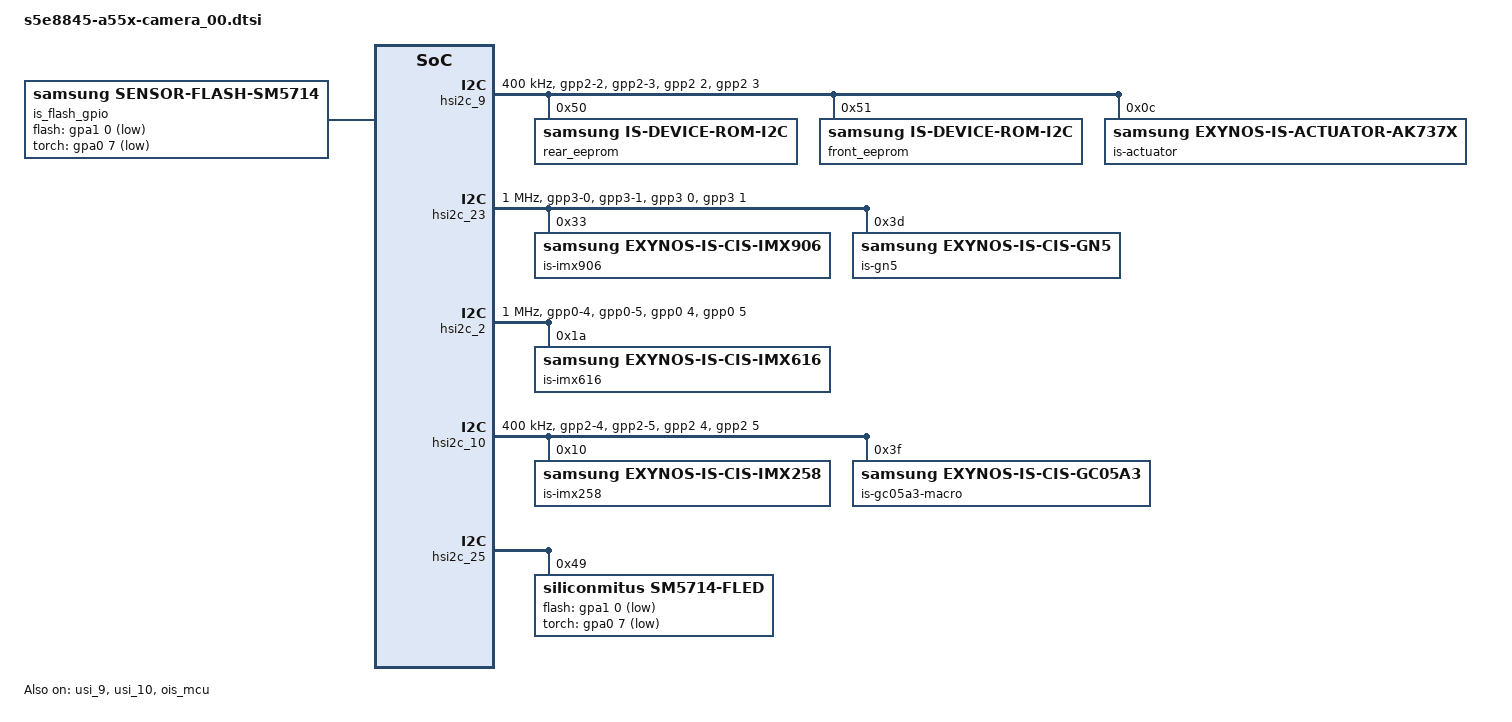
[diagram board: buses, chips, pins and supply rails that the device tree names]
/*
 * Samsung Exynos SoC series Pablo driver
 *
 * Copyright (c) 2023 Samsung Electronics Co., Ltd
 *
 * This program is free software; you can redistribute it and/or modify
 * it under the terms of the GNU General Public License version 2 as
 * published by the Free Software Foundation.
 */

#include <dt-bindings/camera/exynos_is_dt.h>
#include "module_imx906.dtsi" /* Wide CAMERA */
#include "module_gn5.dtsi" /* Wide CAMERA */
#include "module_imx616.dtsi" /* Front CAMERA */
#include "module_imx258.dtsi" /* UW CAMERA */
#include "module_gc05a3.dtsi" /* Macro CAMERA */

/ {
	fragment@camera {
		target-path = "/";
		__overlay__ {
			#address-cells = <2>;
			#size-cells = <1>;
			interrupt-parent = <&gic>;

			/* Wide CAMERA */
			is_sensor_imx906: is_sensor_imx906@33 {
				af {
					product_name = <18>; /* ACTUATOR_NAME_AK737X */
					i2c_ch = <1>; /* SENSOR_CONTROL_I2C1 lock */
				};

				flash {
					product_name = <20>; /* SM5714 */
				};

				power_seq {
					scenario_normal_on {
						20 { pname = "VDDIO_COMMON_1P8"; pin = <PIN_REGULATOR 1 1000>; share = <SRT_ACQUIRE SHARED_PIN0 1>; };
					};
					scenario_normal_off {
						110 { pname = "VDDIO_COMMON_1P8"; pin = <PIN_REGULATOR 0 500>; share = <SRT_RELEASE SHARED_PIN0 0>; };
					};
					scenario_vision_on {
						20 { pname = "VDDIO_COMMON_1P8"; pin = <PIN_REGULATOR 1 1000>; share = <SRT_ACQUIRE SHARED_PIN0 1>; };
					};
					scenario_vision_off {
						110 { pname = "VDDIO_COMMON_1P8"; pin = <PIN_REGULATOR 0 500>; share = <SRT_RELEASE SHARED_PIN0 0>; };
					};
					scenario_ois_factory_on {
						20 { pname = "VDDIO_COMMON_1P8"; pin = <PIN_REGULATOR 1 1000>; share = <SRT_ACQUIRE SHARED_PIN0 1>; };
					};
					scenario_ois_factory_off {
						110 { pname = "VDDIO_COMMON_1P8"; pin = <PIN_REGULATOR 0 1000>; share = <SRT_RELEASE SHARED_PIN0 0>; };
					};
					scenario_read_rom_on {
						10 { pname = "VDDIO_COMMON_1P8"; pin = <PIN_REGULATOR 1 1000>; share = <SRT_ACQUIRE SHARED_PIN0 1>;};
					};
					scenario_read_rom_off {
						20 { pname = "VDDIO_COMMON_1P8"; pin = <PIN_REGULATOR 0 1000>; share = <SRT_RELEASE SHARED_PIN0 0>;};
					};
				};
			};

			is_sensor_gn5: is_sensor_gn5@7A {
				af {
					product_name = <18>; /* ACTUATOR_NAME_AK737X */
					i2c_ch = <1>; /* SENSOR_CONTROL_I2C1 lock */
				};
				flash {
					product_name = <20>; /* SM5714 */
				};

				power_seq {
					scenario_normal_on {
						20 { pname = "VDDIO_COMMON_1P8"; pin = <PIN_REGULATOR 1 1000>; share = <SRT_ACQUIRE SHARED_PIN0 1>; };
					};
					scenario_normal_off {
						110 { pname = "VDDIO_COMMON_1P8"; pin = <PIN_REGULATOR 0 1000>; share = <SRT_RELEASE SHARED_PIN0 0>; };
					};
					scenario_vision_on {
						20 { pname = "VDDIO_COMMON_1P8"; pin = <PIN_REGULATOR 1 1000>; share = <SRT_ACQUIRE SHARED_PIN0 1>; };
					};
					scenario_vision_off {
						110 { pname = "VDDIO_COMMON_1P8"; pin = <PIN_REGULATOR 0 1000>; share = <SRT_RELEASE SHARED_PIN0 0>; };
					};
					scenario_ois_factory_on {
						20 { pname = "VDDIO_COMMON_1P8"; pin = <PIN_REGULATOR 1 1000>; share = <SRT_ACQUIRE SHARED_PIN0 1>; };
					};
					scenario_ois_factory_off {
						110 { pname = "VDDIO_COMMON_1P8"; pin = <PIN_REGULATOR 0 1000>; share = <SRT_RELEASE SHARED_PIN0 0>; };
					};
					scenario_read_rom_on {
						10 { pname = "VDDIO_COMMON_1P8"; pin = <PIN_REGULATOR 1 1000>; share = <SRT_ACQUIRE SHARED_PIN0 1>;};
					};
					scenario_read_rom_off {
						20 { pname = "VDDIO_COMMON_1P8"; pin = <PIN_REGULATOR 0 1000>; share = <SRT_RELEASE SHARED_PIN0 0>;};
					};
				};
			};

			/* FRONT CAMERA */
			is_sensor_imx616: is_sensor_imx616@1A {
				power_seq {
					scenario_normal_on {
						20 { pname = "VDDIO_COMMON_1P8"; pin = <PIN_REGULATOR 1 1000>; share = <SRT_ACQUIRE SHARED_PIN0 1>; };
						30 { pname = "VDDA_COMMON_2P8_V"; pin = <PIN_REGULATOR 1 0 2900000>; share = <SRT_ACQUIRE SHARED_PIN1 1>; };
						80 { pname = "MCLK"; pin = <PIN_MCLK 1 1500>; share = <SRT_ACQUIRE SHARED_PIN2 1>; };
					};
					scenario_normal_off {
						30 { pname = "MCLK"; pin = <PIN_MCLK 0 0>; share = <SRT_RELEASE SHARED_PIN2 0>; };
						80 { pname = "VDDA_COMMON_2P8_V"; pin = <PIN_REGULATOR 0 2000>; share = <SRT_RELEASE SHARED_PIN1 0>; };
						90 { pname = "VDDIO_COMMON_1P8"; pin = <PIN_REGULATOR 0 1000>; share = <SRT_RELEASE SHARED_PIN0 0>; };
					};
					scenario_vision_on {
						20 { pname = "VDDIO_COMMON_1P8"; pin = <PIN_REGULATOR 1 1000>; share = <SRT_ACQUIRE SHARED_PIN0 1>; };
						30 { pname = "VDDA_COMMON_2P8_V"; pin = <PIN_REGULATOR 1 0 2900000>; share = <SRT_ACQUIRE SHARED_PIN1 1>; };
						80 { pname = "MCLK"; pin = <PIN_MCLK 1 1500>; share = <SRT_ACQUIRE SHARED_PIN2 1>; };
					};
					scenario_vision_off {
						30 { pname = "MCLK"; pin = <PIN_MCLK 0 0>; share = <SRT_RELEASE SHARED_PIN2 0>; };
						80 { pname = "VDDA_COMMON_2P8_V"; pin = <PIN_REGULATOR 0 2000>; share = <SRT_RELEASE SHARED_PIN1 0>; };
						90 { pname = "VDDIO_COMMON_1P8"; pin = <PIN_REGULATOR 0 1000>; share = <SRT_RELEASE SHARED_PIN0 0>; };
					};
					scenario_read_rom_on {
						10 { pname = "VDDIO_COMMON_1P8"; pin = <PIN_REGULATOR 1 1000>; share = <SRT_ACQUIRE SHARED_PIN0 1>;};
					};
					scenario_read_rom_off {
						20 { pname = "VDDIO_COMMON_1P8"; pin = <PIN_REGULATOR 0 1000>; share = <SRT_RELEASE SHARED_PIN0 0>;};
					};
				};
			};

			/* UW CAMERA */
			is_sensor_imx258: is_sensor_imx258@10 {
				power_seq {
					scenario_normal_on {
						20 { pname = "VDDIO_COMMON_1P8"; pin = <PIN_REGULATOR 1 1000>; share = <SRT_ACQUIRE SHARED_PIN0 1>;};
						40 { pname = "VDDA_COMMON_2P8_V"; pin = <PIN_REGULATOR 1 0 2700000>; share = <SRT_ACQUIRE SHARED_PIN1 1>; };
					};
					scenario_normal_off {
						80 { pname = "VDDA_COMMON_2P8_V"; pin = <PIN_REGULATOR 0 0>; share = <SRT_RELEASE SHARED_PIN1 0>; };
						100 { pname = "VDDIO_COMMON_1P8"; pin = <PIN_REGULATOR 0 1000>; share = <SRT_RELEASE SHARED_PIN0 0>; };
					};
					scenario_vision_on {
						20 { pname = "VDDIO_COMMON_1P8"; pin = <PIN_REGULATOR 1 1000>; share = <SRT_ACQUIRE SHARED_PIN0 1>;};
						40 { pname = "VDDA_COMMON_2P8_V"; pin = <PIN_REGULATOR 1 0 2700000>; share = <SRT_ACQUIRE SHARED_PIN1 1>; };
					};
					scenario_vision_off {
						80 { pname = "VDDA_COMMON_2P8_V"; pin = <PIN_REGULATOR 0 0>; share = <SRT_RELEASE SHARED_PIN1 0>; };
						100 { pname = "VDDIO_COMMON_1P8"; pin = <PIN_REGULATOR 0 1000>; share = <SRT_RELEASE SHARED_PIN0 0>; };
					};
					scenario_read_rom_on {
						10 { pname = "VDDIO_COMMON_1P8"; pin = <PIN_REGULATOR 1 1000>; share = <SRT_ACQUIRE SHARED_PIN0 1>;};
					};
					scenario_read_rom_off {
						20 { pname = "VDDIO_COMMON_1P8"; pin = <PIN_REGULATOR 0 1000>; share = <SRT_RELEASE SHARED_PIN0 0>;};
					};
				};
			};

			/* MACRO CAMERA */
			is_sensor_gc05a3_macro: is_sensor_gc05a3_macro@3E {
				flash {
					product_name = <20>; /* SM5714 */
				};

				power_seq {
					scenario_normal_on {
						20 { pname = "VDDIO_COMMON_1P8"; pin = <PIN_REGULATOR 1 1000>; share = <SRT_ACQUIRE SHARED_PIN0 1>; };
						40 { pname = "VDDA_COMMON_2P8_V"; pin = <PIN_REGULATOR 1 500 2804000>; share = <SRT_ACQUIRE SHARED_PIN1 1>; };
						80 { pname = "MCLK"; pin = <PIN_MCLK 1 1500>; share = <SRT_ACQUIRE SHARED_PIN2 1>; };
					};
					scenario_normal_off {
						20 { pname = "MCLK"; pin = <PIN_MCLK 0 0>; share = <SRT_RELEASE SHARED_PIN2 0>; };
						70 { pname = "VDDA_COMMON_2P8_V"; pin = <PIN_REGULATOR 0 500>; share = <SRT_RELEASE SHARED_PIN1 0>; };
						90 { pname = "VDDIO_COMMON_1P8"; pin = <PIN_REGULATOR 0 1000>; share = <SRT_RELEASE SHARED_PIN0 0>; };
					};
					scenario_vision_on {
						20 { pname = "VDDIO_COMMON_1P8"; pin = <PIN_REGULATOR 1 1000>; share = <SRT_ACQUIRE SHARED_PIN0 1>;};
						40 { pname = "VDDA_COMMON_2P8_V"; pin = <PIN_REGULATOR 1 500 2804000>; share = <SRT_ACQUIRE SHARED_PIN1 1>; };
						80 { pname = "MCLK"; pin = <PIN_MCLK 1 1500>; share = <SRT_ACQUIRE SHARED_PIN2 1>; };
					};
					scenario_vision_off {
						20 { pname = "MCLK"; pin = <PIN_MCLK 0 0>; share = <SRT_RELEASE SHARED_PIN2 0>; };
						70 { pname = "VDDA_COMMON_2P8_V"; pin = <PIN_REGULATOR 0 500>; share = <SRT_RELEASE SHARED_PIN1 0>; };
						90 { pname = "VDDIO_COMMON_1P8"; pin = <PIN_REGULATOR 0 1000>; share = <SRT_RELEASE SHARED_PIN0 0>; };
					};
					scenario_read_rom_on {
						// 10 { pname = "VDDIO_COMMON_1P8"; pin = <PIN_REGULATOR 1 1000>; share = <SRT_ACQUIRE SHARED_PIN0 1>;};
					};
					scenario_read_rom_off {
						// 20 { pname = "VDDIO_COMMON_1P8"; pin = <PIN_REGULATOR 0 1000>; share = <SRT_RELEASE SHARED_PIN0 0>;};
					};
				};
			};

			/* OIS_MCU */
			ois_mcu: ois_mcu@0x152D0000 {
				compatible = "samsung,sensor-ois-mcu";
				reg = <0x0 0x152D0000 0x18000>, /* OIS MCU (SRAM 96KB) */
					<0x0 0x13920000 0x10000>, /* I2C: USI10_USI */
					<0x0 0x13910000 0x10000>, /* SPI: USI09_USI */
					<0x0 0x12B40000 0x1000>, /* PERI setting (GPIO_PERIC) */
					<0x0 0x152C0000 0x2000>; /* SFR */
				reg-names = "core", "i2c", "spi", "peri", "sfr";
				interrupts = <0 INTREQ__OIS_FROM_CM4 IRQ_TYPE_LEVEL_HIGH>;
				id = <0>;
				status = "okay";
				ois_gyro_direction = <0x00 0x01 0x10>;

				power-domains = <&pd_csis>;
				clocks = <&clock GATE_OIS_MCU_TOP_QCH>, <&clock DOUT_DIV_CLK_PERIC_USI09_USI>;
				clock-names = "user_mux", "ipclk_spi";
			};

			/* REAR CAMERA */
			is_sensor0: is_sensor0@15030000 {
				reg = <0x0 0x15050000 0x1000>, /* MIPI-CSI2 */
					<0x0 0x150F0000 0x10000>, /* PHY: M0S4S4S4S4S4S2 */
					<0x0 0x150B022C 0x10>, /* CSIS_FRO */
					<0x0 0x150B0254 0x10>; /* CSIS 5x3 OTF_OUT MUX */
				scenario = <SENSOR_SCENARIO_NORMAL>;    /* Normal, Vision, OIS etc */
				id = <0>;    /* VIDEO_SS0 */
				csi_ch = <2>; /* CSI2 */
				status = "okay";
				interrupts = <0 INTREQ__CSIS2 IRQ_TYPE_LEVEL_HIGH>; /* MIPI-CSI2 */
				interrupt-names = "csi";
				use_cphy = <1>;

				phys = <&mipi_phy_csis2_m0s4s4s4s4_s22 0>;
				phy_setfile = <&dcphy_setfile_cphy>;
			};

			/* FRONT CAMERA */
			is_sensor1: is_sensor1@15040000 {
				reg = <0x0 0x15030000 0x1000>, /* MIPI-CSI0 */
					<0x0 0x150F0000 0x10000>, /* PHY: M0S4S4S4_S22 */
					<0x0 0x150B022C 0x10>, /* CSIS_FRO */
					<0x0 0x150B0254 0x10>; /* CSIS 5x3 OTF_OUT MUX */
				scenario = <SENSOR_SCENARIO_NORMAL>;    /* Normal, Vision, OIS etc */
				id = <1>;
				csi_ch = <0>; /* CSI0 */
				status = "okay";
				interrupts = <0 INTREQ__CSIS0 IRQ_TYPE_LEVEL_HIGH>; /* MIPI-CSI0 */
				interrupt-names = "csi";
				use_cphy = <0>;

				phys = <&mipi_phy_csis0_m0s4s4s4s4_s22 0>;
				phy_setfile = <&dphy_setfile>;
			};

			/* UW CAMERA */
			is_sensor2: is_sensor2@15050000 {
				reg = <0x0 0x15040000 0x1000>, /* MIPI-CSI1 */
					<0x0 0x150F0000 0x10000>, /* PHY: M0S4S4S4_S22 */
					<0x0 0x150B022C 0x10>, /* CSIS_FRO */
					<0x0 0x150B0254 0x10>; /* CSIS 5x3 OTF_OUT MUX */
				scenario = <SENSOR_SCENARIO_NORMAL>;    /* Normal, Vision, OIS etc */
				id = <2>;
				csi_ch = <1>;
				status = "okay";
				use_cphy = <0>;

				interrupts = <0 INTREQ__CSIS1 IRQ_TYPE_LEVEL_HIGH>; /* MIPI-CSI1 */
				phys = <&mipi_phy_csis1_m0s4s4s4s4_s22 0>;
				phy_setfile = <&dphy_setfile>;
			};

			is_sensor3: is_sensor3@15060000 {
				status = "disabled";
			};

			/* MACRO CAMERA */
			is_sensor4: is_sensor4@15070000 {
				reg = <0x0 0x15070000 0x1000>, /* MIPI-CSI4 */
					<0x0 0x150F0000 0x10000>, /* PHY: M0S4S4S4S4S4S2 */
					<0x0 0x150B022C 0x10>, /* CSIS_FRO */
					<0x0 0x150B0254 0x10>; /* CSIS 5x3 OTF_OUT MUX */
				scenario = <SENSOR_SCENARIO_NORMAL>;    /* Normal, Vision, OIS etc */
				id = <3>;
				csi_ch = <4>;
				status = "okay";
				use_cphy = <0>;

				interrupts = <0 INTREQ__CSIS4 IRQ_TYPE_LEVEL_HIGH>; /* MIPI-CSI4 */
				phys = <&mipi_phy_csis4_m0s4s4s4s4_s22 0>;
				phy_setfile = <&dphy_setfile_2lane>;
			};

			is_flash_gpio: is-flash-gpio@0 {
				compatible = "samsung,sensor-flash-sm5714";
				sensor-module = <&is_sensor_imx906>,<&is_sensor_gc05a3_macro>;
				id = <0 3>;
				led_ch = <1>;
				status = "okay";
				flash-gpio = <&gpa1 0 0x1>;
				torch-gpio = <&gpa0 7 0x1>;
			};

			exynos_isp_cpu: icpu@15910000 {
				firmware{
					heap{
						heap-name = "camera"; /* use camera heap */
					};
				};
			};
		}; /* end of __overlay__ */
	}; /* end of fragment */
}; /* end of root */

/***** reference symbol node *****/

/* Ois setting */
&usi_9 {
	usi_v2_mode = "spi";
	status = "okay";
};

&usi_10 {
	usi_v2_mode = "i2c";
	status = "okay";
};

/*
 * [Pin control reference]
 * samsung,pin-function = <0: Input, 1: Output, 2~3: Func>;
 * samsung,pin-pud = <0: NP, 1: PD, 3: PU(2KOhm), 5: PU(0.8KOhm)>;
 * samsung,pin-drv = <0: x1, 1: x2, 2: x3, 3: x4>;
 * samsung,pin-con-pdn = <0: Output0, 1: Output1, 2: Input, 3:Prev>;
 * samsung,pin-pud-pdn = <0: NP, 1: PD, 3: PU>;
 */

/* GPIO_PERI */
&pinctrl_5 {
	/* REAR Wide : i2c0 */
	hsi2c23_bus: hsi2c23-bus {
		samsung,pins = "gpp3-0", "gpp3-1";
		samsung,pin-function = <2>;
		samsung,pin-pud = <5>;
		samsung,pin-drv = <0>;
	};

	hsi2c23_bus_in: hsi2c23-bus-in {
		samsung,pins = "gpp3-0", "gpp3-1";
		samsung,pin-function = <0>;
		samsung,pin-pud = <5>;
		samsung,pin-drv = <0>;
		samsung,pin-con-pdn = <2>;
		samsung,pin-pud-pdn = <5>;
	};
};

&pinctrl_3 {
	/* FRONT i2c1 */
	hsi2c2_bus: hsi2c2-bus {
		samsung,pins = "gpp0-4", "gpp0-5";
		samsung,pin-function = <2>;
		samsung,pin-pud = <5>;
		samsung,pin-drv = <0>;
	};

	hsi2c2_bus_in: hsi2c2-bus-in {
		samsung,pins = "gpp0-4", "gpp0-5";
		samsung,pin-function = <0>;
		samsung,pin-pud = <5>;
		samsung,pin-drv = <0>;
		samsung,pin-con-pdn = <2>;
		samsung,pin-pud-pdn = <5>;
	};

	/* AF-EEPROM hsi2c */
	hsi2c9_bus: hsi2c9-bus {
		samsung,pins = "gpp2-2", "gpp2-3";
		samsung,pin-function = <3>;
		samsung,pin-pud = <3>;
		samsung,pin-drv = <0>;
	};

	hsi2c9_bus_in: hsi2c9-bus-in {
		samsung,pins = "gpp2-2", "gpp2-3";
		samsung,pin-function = <0>;
		samsung,pin-pud = <3>;
		samsung,pin-drv = <0>;
		samsung,pin-con-pdn = <2>;
		samsung,pin-pud-pdn = <3>;
	};

	/* UW & Macro */
	hsi2c10_bus: hsi2c10-bus {
		samsung,pins = "gpp2-4", "gpp2-5";
		samsung,pin-function = <2>;
		samsung,pin-pud = <3>;
		samsung,pin-drv = <0>;
	};

	hsi2c10_bus_in: hsi2c10-bus-in {
		samsung,pins = "gpp2-4", "gpp2-5";
		samsung,pin-function = <0>;
		samsung,pin-pud = <0>;
		samsung,pin-drv = <0>;
		samsung,pin-con-pdn = <2>;
		samsung,pin-pud-pdn = <0>;
	};

	/* PERIC_USI01_I2C */
	hsi2c3_bus: hsi2c3-bus {
		samsung,pins = "gpp0-6", "gpp0-7";
		samsung,pin-function = <1>;
		samsung,pin-pud = <1>;
		samsung,pin-drv = <0>;
		samsung,pin-con-pdn = <0>;
		samsung,pin-pud-pdn = <1>;
	};

	/* RCAM2_LDO_EN */
	rcam2_ldo_en: rcam2-ldo-en {
		samsung,pins = "gpg1-0";
		samsung,pin-con-pdn = <0>;
	};
};

&pinctrl_0 {
	/* flash */
	cam_flash_en: cam-flash-en {
		samsung,pins = "gpa1-0";
		samsung,pin-function = <1>;
		samsung,pin-con-pdn= <3>;
	};

	/* torch */
	cam_torch_en: cam-torch-en {
		samsung,pins = "gpa0-7";
		samsung,pin-function = <1>;
		samsung,pin-con-pdn= <3>;
	};
};

&hsi2c_9 {
	#address-cells = <1>;
	#size-cells = <0>;
	gpios = <&gpp2 2 0 &gpp2 3 0>;
	status = "okay";
	clock-frequency = <400000>;
	samsung,reset-before-trans;

	pinctrl-names = "default","on_i2c","off_i2c";
	pinctrl-0 = <&hsi2c9_bus_in>;
	pinctrl-1 = <&hsi2c9_bus>;
	pinctrl-2 = <&hsi2c9_bus_in>;

	rear_eeprom@50 {
		compatible = "samsung,is-device-rom-i2c";
		reg = <0x50>;

		rom_id = <0>; /* ROM_ID_REAR */
		rom_type = <2>; /* ROM_TYPE_EEPROM */
		rom_power_position = <0>;
		rom_size = <0x488A>;
		cal_map_es_version = <31>;
		camera_module_es_version = "A";
		/* ignore_cal_crc_error; */
		skip_cal_loading;

		/* 20230713_A55_5G_CAM1(Wide_50M_IMX906)_EEPROM_Rear_Cal map V008.001_QC_LSI_MTK_Common_Map.xlsx */
		/* 0 header */
		header_crc_check_list = <0x0000 0x00FB 0x00FC>;
		crc_check_list = <
						0x0100 0x013B 0x013C
						0x0140 0x019B 0x019C
						0x01A0 0x0F2B 0x0F2C
						0x0F30 0x0F7B 0x0F7C
						0x0F80 0x183B 0x183C
						0x1840 0x188B 0x188C
						0x1890 0x21BB 0x21BC
						0x2C50 0x2C6B 0x2C6C
						0x2C70 0x306B 0x306C
		>;

		/* Master */
		rom_header_version_start_addr = <0x6E>;
		rom_header_cal_data_start_addr = <0x1840>;
		rom_header_cal_map_ver_start_addr = <0x90>;
		rom_header_isp_setfile_ver_start_addr = <0x71>;
		rom_header_project_name_start_addr = <0x98>;
		rom_header_module_id_addr = <0xB6>; /* 0xB0 + reserved bytes */
		rom_header_sensor_id_addr = <0xC0>;
		rom_header_mtf_data_addr = <0x3070>; /* Resolution Data */
		rom_paf_cal_start_addr = <0x1890>;
		rom_awb_master_addr = <0x2C50>;
		rom_awb_module_addr = <0x2C60>;
		/* Near Far Mid1 ... Mid7 */
		rom_af_cal_addr = <0x184C 0x1840>;

		/* sensor ois - xgg ygg xcoef ycoef xsupper ysupper calmark */
		rom_ois_list = <0x0150 0x0154 0x015C 0x015E 0x0178 0x017A 0x0170>;
	};

	front_eeprom@51 {
		compatible = "samsung,is-device-rom-i2c";
		reg = <0x51>;

		rom_id = <1>; /* ROM_ID_FRONT */
		rom_type = <2>; /* ROM_TYPE_EEPROM */
		rom_power_position = <1>;
		need_i2c_config;
		rom_size = <0x4000>;
		cal_map_es_version = <31>;
		camera_module_es_version = "A";
		/* ignore_cal_crc_error; */
		/* skip_cal_loading; */

		/* 20230713_A55_5G_CAM1(Front_32M_IMX616)_EEPROM_Front_Cal map V008.001_QC_LSI_MTK_common_Mapp */
		/* 0 header */
		header_crc_check_list = <0x0000 0x007B 0x007C>;
		/* 0 master */
		crc_check_list = <
			0x0080 0x081B 0x081C
			0x0820 0x0C4B 0x0C4C
		>;

		/* Master */
		rom_header_cal_data_start_addr = <0x00>;
		rom_header_version_start_addr = <0x1E>;
		rom_header_cal_map_ver_start_addr = <0x30>;
		rom_header_project_name_start_addr = <0x38>;
		rom_header_module_id_addr = <0x56>; /* 0x50 + reserved bytes */
		rom_header_sensor_id_addr = <0x60>;
		rom_header_mtf_data_addr = <0xC50>; /* Resolution Data */
		rom_awb_master_addr = <0x0820>;

		/* Front Crosstalk Cal data */
		rom_xtc_cal_data_start_addr = <0x80>;
		rom_xtc_cal_data_size = <1820>;
		rom_xtc_cal_data_addr_list = <0x0080 0x0698>;
	};

	is-actuator@0C { /* wide AF */
		compatible = "samsung,exynos-is-actuator-ak737x";
		sensor-module = <&is_sensor_imx906>;
		reg = <0x0C>;
		id = <0>; /* matching is_sensor id */
		/* AK7314: addr 0xF3, data 0x19 */
		vendor_product_id = <0xF3 0x13 0xF3 0x19>;
		vendor_first_pos = <2000>;  /* 12bits */
		vendor_first_delay = <2000>;
		vendor_soft_landing_seqid = <3>;
		vendor_soft_landing_list = <640 30 64 30>; /* 1st_pos delay 2nd_pos delay */
		vendor_use_sleep_mode;
		vendor_use_standby_mode; /* AK7314 with vendor_use_sleep_mode */
		/* delay settings for AK7314 */
		vendor_sleep_to_standby_delay = <2200>;
		vendor_active_to_standby_delay = <300>;
	};
};

&hsi2c_23 {
	#address-cells = <1>;
	#size-cells = <0>;
	gpios = <&gpp3 0 0 &gpp3 1 0>;
	status = "okay";
	clock-frequency = <1000000>;
	samsung,reset-before-trans;
	samsung,fast-plus-mode;

	pinctrl-names = "default","on_i2c","off_i2c";
	pinctrl-0 = <&hsi2c23_bus_in>;
	pinctrl-1 = <&hsi2c23_bus>;
	pinctrl-2 = <&hsi2c23_bus_in>;

	is-imx906@33 {
		compatible = "samsung,exynos-is-cis-imx906";
		sensor-module = <&is_sensor_imx906>;
		reg = <0x33>; /* 1 bit right shift */
		id = <0>; /* matching is_sensor id */
		setfile = "setA";
		status = "okay";
		vendor_use_adaptive_mipi;
		//rev_reg = <0x0002 1>;
	};

	is-gn5@7A {
		compatible = "samsung,exynos-is-cis-gn5";
		sensor-module = <&is_sensor_gn5>;
		reg = <0x3D>; /* 1 bit right shift */
		id = <0>; /* matching is_sensor id */
		setfile = "setA";
		status = "okay";
		vendor_use_adaptive_mipi;
		//rev_reg = <0x0002 1>;
	};
};

&hsi2c_2 {
	#address-cells = <1>;
	#size-cells = <0>;
	gpios = <&gpp0 4 0 &gpp0 5 0>;
	status = "okay";
	clock-frequency = <1000000>;
	samsung,reset-before-trans;
	samsung,fast-plus-mode;

	pinctrl-names = "default","on_i2c","off_i2c";
	pinctrl-0 = <&hsi2c2_bus_in>;
	pinctrl-1 = <&hsi2c2_bus>;
	pinctrl-2 = <&hsi2c2_bus_in>;

	is-imx616@1A {
		compatible = "samsung,exynos-is-cis-imx616";
		sensor-module = <&is_sensor_imx616>;
		reg = <0x1A>; /* 1 bit right shift */
		id = <1>; /* matching is_sensor id */
		setfile = "setA";
		status = "okay";
		vendor_use_adaptive_mipi;
	};
};

&hsi2c_10 {
	#address-cells = <1>;
	#size-cells = <0>;
	gpios = <&gpp2 4 0 &gpp2 5 0>;
	status = "okay";
	clock-frequency = <400000>;
	samsung,reset-before-trans;

	pinctrl-names = "default","on_i2c","off_i2c";
	pinctrl-0 = <&hsi2c10_bus_in>;
	pinctrl-1 = <&hsi2c10_bus>;
	pinctrl-2 = <&hsi2c10_bus_in>;

	/* UW */
	is-imx258@10 {
		compatible = "samsung,exynos-is-cis-imx258";
		sensor-module = <&is_sensor_imx258>;
		reg = <0x10>; /* 1 bit right shift */
		id = <2>; /* matching is_sensor id */
		setfile = "setA";
		status = "okay";
		sensor_f_number = <240>;  /* f number 2.4 */
		vendor_use_adaptive_mipi;
	};

	/* Macro */
	is-gc05a3-macro@3E {
		compatible = "samsung,exynos-is-cis-gc05a3";
		sensor-module = <&is_sensor_gc05a3_macro>;
		reg = <0x3F>; /* 1 bit right shift */
		id = <3>; /* matching is_sensor id */
		setfile = "setA";
		status = "okay";
		vendor_use_adaptive_mipi;
	};
};

&hsi2c_25 {
	sm5714-fled@49 {
		compatible = "siliconmitus,sm5714-fled";
		status = "okay";
		reg = <0x49>;
		flash-gpio = <&gpa1 0 0x1>;
		torch-gpio = <&gpa0 7 0x1>;
		flash-brightness = <0xA>; /* 0x0(300mA), 0x1(700mA), 0x2(800mA), 0x3(900mA) ~ 0xF(1500mA) : 50mA Step */
		preflash-brightness = <0x4>;
		torch-brightness = <0x4>; /* 0x0(50mA) ~ 0x7(225mA) : 25mA Step */
		torch-brightness-levels = <0 1 2 5 7>;
		timeout = <0xff>;
	};
};

&exynos_is {
	pinctrl-0 = <&cam_torch_en &cam_flash_en &hsi2c3_bus &rcam2_ldo_en>;

	vendor {
		//use_module_check;
		//check_sensor_vendor;
		eeprom_on_delay = <20>;
		ois_sensor_index = <0>;
		mcu_sensor_index = <0>;

		is_vendor_sensor_count = <4>;
		max_supported_camera = <4>;
		supported_cameraId = <0 1 58 60>;

		/*
		* Wide(0)
		* Front(1)
		* U Wide(2)
		* Front 80(3) - not available for factory
		* Front Secure(5) - not available for factory
		* DUAL_REAR_PORTRAIT_WIDE(23)
		* Bokeh(52)
		* Rear_UW(58)
		* Macro(60)
		*/

		/* count of using camera info */
		max_camera_num = <4>;

		/*
		 * sensor position by HAL
		 * 0: Wide
		 * 1: Front
		 * 2: Tele or Bokeh
		 * 4: UW
		 * 6: Macro or Ultra Tele
		 */
		sensor_id { /* sensor position = <sensor_id> */
			0 = <132>;	/* IMX906 */
			1 = <121>;	/* IMX616 */
			4 = <110>;	/* IMX258 */
			6 = <226>;	/* GC05A3 */
		};
		sensor_name { /* position = "name" */
			0 = "IMX906";
			1 = "IMX616";
			4 = "IMX258";
			6 = "GC05A3";
		};

		camera_info0 {			/* 0 : sysfs rear */
			position = <0>;		/* 0 : wide */
			valid = <1>;		/* 0 : INVALID, 1 : VALID */
		};
		camera_info1 {			/* 1 : sysfs front */
			position = <1>;		/* 1 : front master */
			valid = <1>;		/* 0 : INVALID, 1 : VALID */
		};
		camera_info2 {			/* 2 : sysfs rear2 */
			position = <4>;		/* 4 : ultra wide */
			valid = <1>;		/* 0 : INVALID, 1 : VALID */
		};
		camera_info3 {			/* 3 : sysfs front2 */
			valid = <0>;		/* 0 : INVALID, 1 : VALID */
		};
		camera_info4 {			/* 4 : sysfs rear3 */
			valid = <0>;		/* 0 : INVALID, 1 : VALID */
		};

		sysfs {
			rear_afcal;
			rear_dualcal;

			rear2;
			rear2_moduleid;

			rear3;
			rear3_moduleid;

			front_fixed_focus;
		};
	};

	is_dvfs {
		table0 {
			desc = "dvfs table v0.2";

			default_int_cam = <1>;
			default_cam = <1>;
			default_csis = <1>;
			default_isp = <1>;
			default_mif = <1>;
			default_icpu = <0>;

			rear_single_photo_isp = <6>;
			rear_single_photo_int_cam = <4>;
			rear_single_photo_mif = <8>;
			rear_single_photo_icpu = <1>;

			rear_single_photo_full_isp = <5>;
			rear_single_photo_full_int_cam = <3>;
			rear_single_photo_full_mif = <7>;
			rear_single_photo_full_icpu = <1>;

			rear_single_video_fhd30_isp = <6>;
			rear_single_video_fhd30_int_cam = <4>;
			rear_single_video_fhd30_mif = <8>;
			rear_single_video_fhd30_icpu = <1>;

			rear_single_video_fhd30_supersteady_isp = <4>;
			rear_single_video_fhd30_supersteady_int_cam = <3>;
			rear_single_video_fhd30_supersteady_mif = <7>;
			rear_single_video_fhd30_supersteady_icpu = <0>;

			rear_single_video_fhd60_isp = <6>;
			rear_single_video_fhd60_int_cam = <4>;
			rear_single_video_fhd60_mif = <4>;
			rear_single_video_fhd60_icpu = <1>;

			rear_single_video_fhd60_supersteady_isp = <4>;
			rear_single_video_fhd60_supersteady_int_cam = <3>;
			rear_single_video_fhd60_supersteady_mif = <3>;
			rear_single_video_fhd60_supersteady_icpu = <1>;

			rear_single_video_uhd30_isp = <6>;
			rear_single_video_uhd30_int_cam = <4>;
			rear_single_video_uhd30_mif = <5>;
			rear_single_video_uhd30_icpu = <1>;

			rear_single_video_uhd30_hf_isp = <5>;
			rear_single_video_uhd30_hf_int_cam = <4>;
			rear_single_video_uhd30_hf_mif = <5>;
			rear_single_video_uhd30_hf_icpu = <1>;

			rear_single_video_uhd60_isp = <3>;
			rear_single_video_uhd60_int_cam = <4>;
			rear_single_video_uhd60_mif = <2>;
			rear_single_video_uhd60_icpu = <1>;

			rear_single_video_uhd60_hf_isp = <3>;
			rear_single_video_uhd60_hf_int_cam = <4>;
			rear_single_video_uhd60_hf_mif = <2>;
			rear_single_video_uhd60_hf_icpu = <1>;

			rear_single_capture_cam = <0>;
			rear_single_capture_isp = <0>;
			rear_single_capture_int_cam = <4>;
			rear_single_capture_mif = <0>;
			rear_single_capture_icpu = <1>;

			rear_single_video_fhd120_isp = <5>;
			rear_single_video_fhd120_int_cam = <4>;
			rear_single_video_fhd120_mif = <5>;
			rear_single_video_fhd120_icpu = <1>;

			rear_single_video_hd30_isp = <6>;
			rear_single_video_hd30_int_cam = <4>;
			rear_single_video_hd30_mif = <8>;
			rear_single_video_hd30_icpu = <1>;

			rear_single_video_hd120_isp = <5>;
			rear_single_video_hd120_int_cam = <4>;
			rear_single_video_hd120_mif = <5>;
			rear_single_video_hd120_icpu = <1>;

			rear_single_video_hd240_isp = <5>;
			rear_single_video_hd240_int_cam = <4>;
			rear_single_video_hd240_mif = <5>;
			rear_single_video_hd240_icpu = <1>;

			rear_single_ssm_isp = <5>;
			rear_single_ssm_int_cam = <4>;
			rear_single_ssm_mif = <5>;
			rear_single_ssm_icpu = <1>;

			rear_single_remosaic_photo_isp = <0>;
			rear_single_remosaic_photo_int_cam = <4>;
			rear_single_remosaic_photo_mif = <0>;
			rear_single_remosaic_photo_icpu = <1>;

			rear_single_remosaic_capture_cam = <0>;
			rear_single_remosaic_capture_isp = <0>;
			rear_single_remosaic_capture_int_cam = <4>;
			rear_single_remosaic_capture_mif = <0>;
			rear_single_remosaic_capture_icpu = <1>;

			rear_single_vt_isp = <6>;
			rear_single_vt_int_cam = <4>;
			rear_single_vt_mif = <8>;
			rear_single_vt_icpu = <1>;

			rear_single_wide_fastae_isp = <5>;
			rear_single_wide_fastae_int_cam = <4>;
			rear_single_wide_fastae_mif = <5>;
			rear_single_wide_fastae_icpu = <1>;

			rear_dual_wide_tele_photo_isp = <1>;
			rear_dual_wide_tele_photo_int_cam = <1>;
			rear_dual_wide_tele_photo_mif = <0>;
			rear_dual_wide_tele_photo_icpu = <0>;

			rear_dual_wide_tele_video_fhd30_isp = <1>;
			rear_dual_wide_tele_video_fhd30_int_cam = <1>;
			rear_dual_wide_tele_video_fhd30_mif = <0>;
			rear_dual_wide_tele_video_fhd30_icpu = <0>;

			rear_dual_wide_tele_video_fhd60_isp = <1>;
			rear_dual_wide_tele_video_fhd60_int_cam = <1>;
			rear_dual_wide_tele_video_fhd60_mif = <0>;
			rear_dual_wide_tele_video_fhd60_icpu = <0>;

			rear_dual_wide_tele_video_uhd30_isp = <1>;
			rear_dual_wide_tele_video_uhd30_int_cam = <1>;
			rear_dual_wide_tele_video_uhd30_mif = <0>;
			rear_dual_wide_tele_video_uhd30_icpu = <0>;

			rear_dual_wide_tele_video_uhd60_isp = <1>;
			rear_dual_wide_tele_video_uhd60_int_cam = <1>;
			rear_dual_wide_tele_video_uhd60_mif = <0>;
			rear_dual_wide_tele_video_uhd60_icpu = <0>;

			rear_dual_wide_tele_capture_cam = <0>;
			rear_dual_wide_tele_capture_isp = <1>;
			rear_dual_wide_tele_capture_int_cam = <1>;
			rear_dual_wide_tele_capture_mif = <0>;
			rear_dual_wide_tele_capture_icpu = <0>;

			rear_dual_wide_ultrawide_photo_isp = <6>;
			rear_dual_wide_ultrawide_photo_int_cam = <4>;
			rear_dual_wide_ultrawide_photo_mif = <5>;
			rear_dual_wide_ultrawide_photo_icpu = <1>;

			rear_dual_wide_ultrawide_video_fhd30_isp = <1>;
			rear_dual_wide_ultrawide_video_fhd30_int_cam = <1>;
			rear_dual_wide_ultrawide_video_fhd30_mif = <0>;
			rear_dual_wide_ultrawide_video_fhd30_icpu = <0>;

			rear_dual_wide_ultrawide_video_fhd60_isp = <1>;
			rear_dual_wide_ultrawide_video_fhd60_int_cam = <1>;
			rear_dual_wide_ultrawide_video_fhd60_mif = <0>;
			rear_dual_wide_ultrawide_video_fhd60_icpu = <0>;

			rear_dual_wide_ultrawide_video_uhd30_isp = <1>;
			rear_dual_wide_ultrawide_video_uhd30_int_cam = <1>;
			rear_dual_wide_ultrawide_video_uhd30_mif = <0>;
			rear_dual_wide_ultrawide_video_uhd30_icpu = <0>;

			rear_dual_wide_ultrawide_video_uhd60_isp = <1>;
			rear_dual_wide_ultrawide_video_uhd60_int_cam = <1>;
			rear_dual_wide_ultrawide_video_uhd60_mif = <0>;
			rear_dual_wide_ultrawide_video_uhd60_icpu = <0>;

			rear_dual_wide_ultrawide_capture_cam = <0>;
			rear_dual_wide_ultrawide_capture_isp = <1>;
			rear_dual_wide_ultrawide_capture_int_cam = <4>;
			rear_dual_wide_ultrawide_capture_mif = <0>;
			rear_dual_wide_ultrawide_capture_icpu = <1>;

			front_single_photo_isp = <6>;
			front_single_photo_int_cam = <4>;
			front_single_photo_mif = <8>;
			front_single_photo_icpu = <1>;

			front_single_photo_full_isp = <5>;
			front_single_photo_full_int_cam = <3>;
			front_single_photo_full_mif = <7>;
			front_single_photo_full_icpu = <1>;

			front_single_video_fhd30_isp = <6>;
			front_single_video_fhd30_int_cam = <4>;
			front_single_video_fhd30_mif = <8>;
			front_single_video_fhd30_icpu = <1>;

			front_single_video_uhd30_isp = <6>;
			front_single_video_uhd30_int_cam = <4>;
			front_single_video_uhd30_mif = <5>;
			front_single_video_uhd30_icpu = <1>;

			front_single_video_fhd60_isp = <6>;
			front_single_video_fhd60_int_cam = <4>;
			front_single_video_fhd60_mif = <5>;
			front_single_video_fhd60_icpu = <1>;

			front_single_video_uhd60_hf_isp = <1>;
			front_single_video_uhd60_hf_int_cam = <1>;
			front_single_video_uhd60_hf_mif = <0>;
			front_single_video_uhd60_hf_icpu = <0>;

			front_single_capture_cam = <0>;
			front_single_capture_isp = <0>;
			front_single_capture_int_cam = <4>;
			front_single_capture_mif = <0>;
			front_single_capture_icpu = <1>;

			front_single_remosaic_photo_isp = <0>;
			front_single_remosaic_photo_int_cam = <4>;
			front_single_remosaic_photo_mif = <0>;
			front_single_remosaic_photo_icpu = <1>;

			front_single_remosaic_capture_cam = <0>;
			front_single_remosaic_capture_isp = <0>;
			front_single_remosaic_capture_int_cam = <4>;
			front_single_remosaic_capture_mif = <0>;
			front_single_remosaic_capture_icpu = <1>;

			front_single_vt_isp = <6>;
			front_single_vt_int_cam = <4>;
			front_single_vt_mif = <8>;
			front_single_vt_icpu = <1>;

			front_single_fastae_cam = <6>;
			front_single_fastae_isp = <6>;
			front_single_fastae_int_cam = <4>;
			front_single_fastae_mif = <5>;
			front_single_fastae_icpu = <1>;

			front_single_video_fhd120_isp = <6>;
			front_single_video_fhd120_int_cam = <4>;
			front_single_video_fhd120_mif = <5>;
			front_single_video_fhd120_icpu = <1>;

			front_single_video_hd30_isp = <6>;
			front_single_video_hd30_int_cam = <4>;
			front_single_video_hd30_mif = <8>;
			front_single_video_hd30_icpu = <1>;

			front_single_video_hd120_isp = <6>;
			front_single_video_hd120_int_cam = <4>;
			front_single_video_hd120_mif = <5>;
			front_single_video_hd120_icpu = <1>;

			pip_dual_photo_isp = <6>;
			pip_dual_photo_int_cam = <4>;
			pip_dual_photo_mif = <5>;
			pip_dual_photo_icpu = <1>;

			pip_dual_capture_cam = <0>;
			pip_dual_capture_isp = <0>;
			pip_dual_capture_int_cam = <4>;
			pip_dual_capture_mif = <0>;
			pip_dual_capture_icpu = <1>;

			pip_dual_video_fhd30_isp = <5>;
			pip_dual_video_fhd30_int_cam = <1>;
			pip_dual_video_fhd30_mif = <5>;
			pip_dual_video_fhd30_icpu = <0>;

			sensor_only_rear_single_cam = <1>;
			sensor_only_rear_single_isp = <1>;
			sensor_only_rear_single_int_cam = <1>;
			sensor_only_rear_single_mif = <1>;
			sensor_only_rear_single_icpu = <0>;

			sensor_only_front_cam = <1>;
			sensor_only_front_isp = <1>;
			sensor_only_front_int_cam = <1>;
			sensor_only_front_mif = <1>;
			sensor_only_front_icpu = <0>;

			throttling_cam = <0>;
			throttling_isp = <0>;
			throttling_int_cam = <0>;
			throttling_mif = <0>;
			throttling_icpu = <0>;

			max_csis = <1>;
			max_cam = <1>;
			max_isp = <1>;
			max_int_cam = <1>;
			max_mif = <1>;
			max_icpu = <0>;
		};
	};
};
